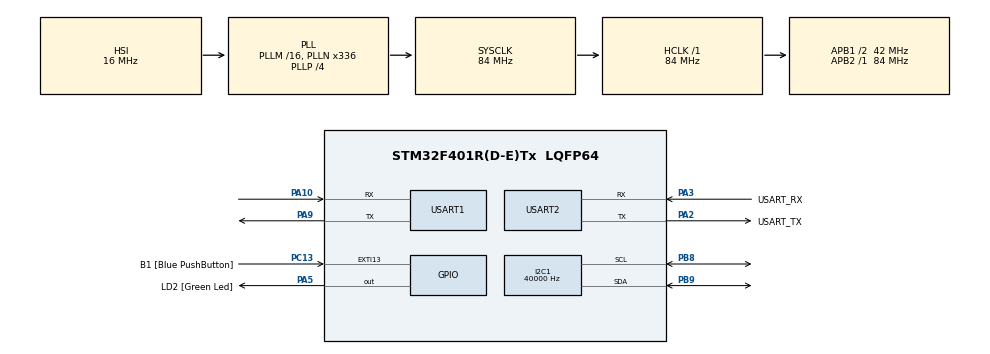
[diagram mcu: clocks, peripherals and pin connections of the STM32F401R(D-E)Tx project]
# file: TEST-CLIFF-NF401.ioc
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I2C1.ClockSpeed=40000
I2C1.I2C_Mode=I2C_Fast
Mcu.Family=STM32F4
Mcu.Name=STM32F401R(D-E)Tx
Mcu.Package=LQFP64
NVIC.EXTI15_10_IRQn=true\:0\:0\:false\:false\:true\:true
NVIC.PriorityGroup=NVIC_PRIORITYGROUP_0
NVIC.TIM1_CC_IRQn=true\:0\:0\:false\:false\:true\:true
NVIC.USART1_IRQn=true\:0\:0\:false\:false\:true\:true
NVIC.USART2_IRQn=true\:0\:0\:false\:false\:true\:true
PA10.Mode=Asynchronous
PA10.Signal=USART1_RX
PA13.GPIO_Label=TMS
PA13.Mode=Serial_Wire
PA13.Signal=SYS_JTMS-SWDIO
PA14.GPIO_Label=TCK
PA14.Mode=Serial_Wire
PA14.Signal=SYS_JTCK-SWCLK
PA2.GPIO_Label=USART_TX
PA2.GPIO_Mode=GPIO_MODE_AF_PP
PA2.GPIO_PuPd=GPIO_NOPULL
PA2.GPIO_Speed=GPIO_SPEED_FREQ_LOW
PA2.Mode=Asynchronous
PA2.Signal=USART2_TX
PA3.GPIO_Label=USART_RX
PA3.GPIO_Mode=GPIO_MODE_AF_PP
PA3.GPIO_PuPd=GPIO_NOPULL
PA3.GPIO_Speed=GPIO_SPEED_FREQ_LOW
PA3.Mode=Asynchronous
PA3.Signal=USART2_RX
PA5.GPIO_Label=LD2 [Green Led]
PA5.GPIO_Mode=GPIO_MODE_OUTPUT_PP
PA5.GPIO_PuPd=GPIO_NOPULL
PA5.GPIO_Speed=GPIO_SPEED_FREQ_LOW
PA5.Signal=GPIO_Output
PA9.Mode=Asynchronous
PA9.Signal=USART1_TX
PB3.GPIO_Label=SWO
PB3.Signal=SYS_JTDO-SWO
PB8.Mode=I2C
PB8.Signal=I2C1_SCL
PB9.Mode=I2C
PB9.Signal=I2C1_SDA
PC13-ANTI_TAMP.GPIO_Label=B1 [Blue PushButton]
PC13-ANTI_TAMP.GPIO_ModeDefaultEXTI=GPIO_MODE_IT_FALLING
PC13-ANTI_TAMP.GPIO_PuPd=GPIO_PULLUP
PC13-ANTI_TAMP.Signal=GPXTI13
PC14-OSC32_IN.Mode=LSE-External-Oscillator
PC14-OSC32_IN.Signal=RCC_OSC32_IN
PC15-OSC32_OUT.Mode=LSE-External-Oscillator
PC15-OSC32_OUT.Signal=RCC_OSC32_OUT
PH0\ -\ OSC_IN.Mode=HSE-External-Clock-Source
PH0\ -\ OSC_IN.Signal=RCC_OSC_IN
PH1\ -\ OSC_OUT.Mode=HSE-External-Clock-Source
PH1\ -\ OSC_OUT.Signal=RCC_OSC_OUT
ProjectManager.HeapSize=0x200
ProjectManager.StackSize=0x400
ProjectManager.TargetToolchain=TrueSTUDIO
RCC.48MHZClocksFreq_Value=48000000
RCC.AHBFreq_Value=84000000
RCC.APB1CLKDivider=RCC_HCLK_DIV2
RCC.APB1Freq_Value=42000000
RCC.APB1TimFreq_Value=84000000
RCC.APB2Freq_Value=84000000
RCC.APB2TimFreq_Value=84000000
RCC.CortexFreq_Value=84000000
RCC.HCLKFreq_Value=84000000
RCC.HSE_VALUE=8000000
RCC.HSI_VALUE=16000000
RCC.PLLN=336
RCC.PLLP=RCC_PLLP_DIV4
RCC.PLLQ=7
RCC.SYSCLKFreq_VALUE=84000000
RCC.SYSCLKSource=RCC_SYSCLKSOURCE_PLLCLK
RCC.VCOOutputFreq_Value=336000000
TIM1.Channel-Output\ Compare1\ No\ Output=TIM_CHANNEL_1
USART1.VirtualMode=VM_ASYNC
USART2.VirtualMode=VM_ASYNC
VP_TIM1_VS_no_output1.Mode=Output Compare1 No Output
board=NUCLEO-F401RE

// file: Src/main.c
/* USER CODE BEGIN Header */
/**
  ******************************************************************************
  * @file           : main.c
  * @brief          : Main program body
  ******************************************************************************
  ** This notice applies to any and all portions of this file
  * that are not between comment pairs USER CODE BEGIN and
  * USER CODE END. Other portions of this file, whether
  * inserted by the user or by software development tools
  * are owned by their respective copyright owners.
  *
  * COPYRIGHT(c) 2019 STMicroelectronics
  *
  * Redistribution and use in source and binary forms, with or without modification,
  * are permitted provided that the following conditions are met:
  *   1. Redistributions of source code must retain the above copyright notice,
  *      this list of conditions and the following disclaimer.
  *   2. Redistributions in binary form must reproduce the above copyright notice,
  *      this list of conditions and the following disclaimer in the documentation
  *      and/or other materials provided with the distribution.
  *   3. Neither the name of STMicroelectronics nor the names of its contributors
  *      may be used to endorse or promote products derived from this software
  *      without specific prior written permission.
  *
  * THIS SOFTWARE IS PROVIDED BY THE COPYRIGHT HOLDERS AND CONTRIBUTORS "AS IS"
  * AND ANY EXPRESS OR IMPLIED WARRANTIES, INCLUDING, BUT NOT LIMITED TO, THE
  * IMPLIED WARRANTIES OF MERCHANTABILITY AND FITNESS FOR A PARTICULAR PURPOSE ARE
  * DISCLAIMED. IN NO EVENT SHALL THE COPYRIGHT HOLDER OR CONTRIBUTORS BE LIABLE
  * FOR ANY DIRECT, INDIRECT, INCIDENTAL, SPECIAL, EXEMPLARY, OR CONSEQUENTIAL
  * DAMAGES (INCLUDING, BUT NOT LIMITED TO, PROCUREMENT OF SUBSTITUTE GOODS OR
  * SERVICES; LOSS OF USE, DATA, OR PROFITS; OR BUSINESS INTERRUPTION) HOWEVER
  * CAUSED AND ON ANY THEORY OF LIABILITY, WHETHER IN CONTRACT, STRICT LIABILITY,
  * OR TORT (INCLUDING NEGLIGENCE OR OTHERWISE) ARISING IN ANY WAY OUT OF THE USE
  * OF THIS SOFTWARE, EVEN IF ADVISED OF THE POSSIBILITY OF SUCH DAMAGE.
  *
  ******************************************************************************
  */
/* USER CODE END Header */

#include "main.h"

/* USER CODE BEGIN PD */

#define CLIFF_SLAVE_ADDRESS				(0xA6)
#define BATINFO_SLAVE_ADDRESS			(0xEE)
#define BATINFO_SLAVE_EXT_ADDRESS		(0x6C)

#define CLIFF_I2C_REG_CH0				(0x20)
#define CLIFF_I2C_REG_CH1				(0x22)
#define CLIFF_I2C_REG_CH2				(0x24)
#define CLIFF_I2C_REG_CH3				(0x26)
#define CLIFF_I2C_REG_CH4				(0x28)
#define CLIFF_I2C_REG_CH5				(0x2a)
#define CLIFF_I2C_REG_CH6				(0x2c)
#define CLIFF_I2C_REG_CH7				(0x2e)
#define CLIFF_I2C_REG_CHD				(0x36)

#define SEL_MODE_MAX					(2)

#define BATINFO_I2C_REG_CLIFF_LEFT		(0x0A)
#define BATINFO_I2C_REG_CLIFF_BACK		(0x0C)
#define BATINFO_I2C_REG_CLIFF_RIGHT		(0x0E)

/* USER CODE END PD */

I2C_HandleTypeDef hi2c1;

TIM_HandleTypeDef htim1;

UART_HandleTypeDef huart1;
UART_HandleTypeDef huart2;

/* USER CODE BEGIN PV */
uint8_t address = 0x20;		// REG_RANGE address

uint8_t data[3];
uint16_t result;

uint8_t gSelectMode;
uint8_t gSelectMode_pend;

uint16_t f2f_runtime_pre;
uint16_t f2f_runtime_now;
uint16_t f2f_runtime_result;

/* USER CODE END PV */

void SystemClock_Config(void);
static void MX_GPIO_Init(void);
static void MX_USART2_UART_Init(void);
static void MX_TIM1_Init(void);
static void MX_I2C1_Init(void);
static void MX_USART1_UART_Init(void);
/* USER CODE BEGIN PFP */
int _write(int fd, char *str, int len);
/* USER CODE END PFP */

/* USER CODE BEGIN 0 */
void readCliffDistance(uint8_t reg_address);
void readCliffCH(uint16_t delay_ms);
void readBATINFO(uint16_t delay_ms);
void touchINFO(uint16_t delay_ms);
void touchbyCliffINFO(uint16_t delay_ms);
void readBATINFOpCliff(uint16_t delay_ms);

uint16_t readI2CHalfWord(uint8_t slave_address, uint8_t reg_address);
/* USER CODE END 0 */

int main(void)
{

  /* MCU Configuration--------------------------------------------------------*/

  /* Reset of all peripherals, Initializes the Flash interface and the Systick. */
  HAL_Init();

  /* Configure the system clock */
  SystemClock_Config();

  /* USER CODE BEGIN SysInit */
  HAL_Delay(500);
  /* USER CODE END SysInit */

  /* Initialize all configured peripherals */
  MX_GPIO_Init();
  MX_USART2_UART_Init();
  MX_TIM1_Init();
  MX_I2C1_Init();
  MX_USART1_UART_Init();
  /* USER CODE BEGIN 2 */
  HAL_TIM_Base_Start_IT(&htim1);

  // read

  /* USER CODE END 2 */

  /* Infinite loop */
  while (1)
  {
    /* USER CODE BEGIN 3 */
	  // select user test program by blue button.
	  if(1){
		  switch(gSelectMode)
		  {
		  case 1:
	//		  readCliffCH(100);
			  readBATINFO(500);
	//		  readBATINFO(1000);
			  gSelectMode_pend = RESET;
			  break;
		  case 2:
			  readBATINFOpCliff(500);
			  gSelectMode_pend = RESET;
			  break;
//		  case 3:
//			  touchbyCliffINFO(5);
//			  gSelectMode_pend = RESET;
//			  break;
//		  case 4:
//			  touchINFO(5);
//			  gSelectMode_pend = RESET;
//			  break;
		  }
	  }
	  // cliff 3ch read using BAT-INFO IC
	  if(0){
		  readBATINFOpCliff(500);
	  }

  }
  /* USER CODE END 3 */
}

void SystemClock_Config(void)
{
  RCC_OscInitTypeDef RCC_OscInitStruct = {0};
  RCC_ClkInitTypeDef RCC_ClkInitStruct = {0};

  /**Configure the main internal regulator output voltage
  */
  __HAL_RCC_PWR_CLK_ENABLE();
  __HAL_PWR_VOLTAGESCALING_CONFIG(PWR_REGULATOR_VOLTAGE_SCALE2);
  /**Initializes the CPU, AHB and APB busses clocks
  */
  RCC_OscInitStruct.OscillatorType = RCC_OSCILLATORTYPE_HSI;
  RCC_OscInitStruct.HSIState = RCC_HSI_ON;
  RCC_OscInitStruct.HSICalibrationValue = RCC_HSICALIBRATION_DEFAULT;
  RCC_OscInitStruct.PLL.PLLState = RCC_PLL_ON;
  RCC_OscInitStruct.PLL.PLLSource = RCC_PLLSOURCE_HSI;
  RCC_OscInitStruct.PLL.PLLM = 16;
  RCC_OscInitStruct.PLL.PLLN = 336;
  RCC_OscInitStruct.PLL.PLLP = RCC_PLLP_DIV4;
  RCC_OscInitStruct.PLL.PLLQ = 7;
  if (HAL_RCC_OscConfig(&RCC_OscInitStruct) != HAL_OK)
  {
    Error_Handler();
  }
  /**Initializes the CPU, AHB and APB busses clocks
  */
  RCC_ClkInitStruct.ClockType = RCC_CLOCKTYPE_HCLK|RCC_CLOCKTYPE_SYSCLK
                              |RCC_CLOCKTYPE_PCLK1|RCC_CLOCKTYPE_PCLK2;
  RCC_ClkInitStruct.SYSCLKSource = RCC_SYSCLKSOURCE_PLLCLK;
  RCC_ClkInitStruct.AHBCLKDivider = RCC_SYSCLK_DIV1;
  RCC_ClkInitStruct.APB1CLKDivider = RCC_HCLK_DIV2;
  RCC_ClkInitStruct.APB2CLKDivider = RCC_HCLK_DIV1;

  if (HAL_RCC_ClockConfig(&RCC_ClkInitStruct, FLASH_LATENCY_2) != HAL_OK)
  {
    Error_Handler();
  }
}

static void MX_I2C1_Init(void)
{

  hi2c1.Instance = I2C1;
  hi2c1.Init.ClockSpeed = 400000;
  hi2c1.Init.DutyCycle = I2C_DUTYCYCLE_2;
  hi2c1.Init.OwnAddress1 = 0;
  hi2c1.Init.AddressingMode = I2C_ADDRESSINGMODE_7BIT;
  hi2c1.Init.DualAddressMode = I2C_DUALADDRESS_DISABLE;
  hi2c1.Init.OwnAddress2 = 0;
  hi2c1.Init.GeneralCallMode = I2C_GENERALCALL_DISABLE;
  hi2c1.Init.NoStretchMode = I2C_NOSTRETCH_DISABLE;
  if (HAL_I2C_Init(&hi2c1) != HAL_OK)
  {
    Error_Handler();
  }

}

static void MX_TIM1_Init(void)
{

  TIM_MasterConfigTypeDef sMasterConfig = {0};
  TIM_OC_InitTypeDef sConfigOC = {0};
  TIM_BreakDeadTimeConfigTypeDef sBreakDeadTimeConfig = {0};

  /* USER CODE BEGIN TIM1_Init 1 */
  // 84Mhz max
  // 8400
  // 1/10,000 = 100us
  /* USER CODE END TIM1_Init 1 */
  htim1.Instance = TIM1;
  htim1.Init.Prescaler = 8400;
  htim1.Init.CounterMode = TIM_COUNTERMODE_UP;
  htim1.Init.Period = 9999;
  htim1.Init.ClockDivision = TIM_CLOCKDIVISION_DIV1;
  htim1.Init.RepetitionCounter = 0;
  if (HAL_TIM_OC_Init(&htim1) != HAL_OK)
  {
    Error_Handler();
  }
  sMasterConfig.MasterOutputTrigger = TIM_TRGO_RESET;
  sMasterConfig.MasterSlaveMode = TIM_MASTERSLAVEMODE_DISABLE;
  if (HAL_TIMEx_MasterConfigSynchronization(&htim1, &sMasterConfig) != HAL_OK)
  {
    Error_Handler();
  }
  sConfigOC.OCMode = TIM_OCMODE_TIMING;
  sConfigOC.Pulse = 0;
  sConfigOC.OCPolarity = TIM_OCPOLARITY_HIGH;
  sConfigOC.OCNPolarity = TIM_OCNPOLARITY_HIGH;
  sConfigOC.OCFastMode = TIM_OCFAST_DISABLE;
  sConfigOC.OCIdleState = TIM_OCIDLESTATE_RESET;
  sConfigOC.OCNIdleState = TIM_OCNIDLESTATE_RESET;
  if (HAL_TIM_OC_ConfigChannel(&htim1, &sConfigOC, TIM_CHANNEL_1) != HAL_OK)
  {
    Error_Handler();
  }
  sBreakDeadTimeConfig.OffStateRunMode = TIM_OSSR_DISABLE;
  sBreakDeadTimeConfig.OffStateIDLEMode = TIM_OSSI_DISABLE;
  sBreakDeadTimeConfig.LockLevel = TIM_LOCKLEVEL_OFF;
  sBreakDeadTimeConfig.DeadTime = 0;
  sBreakDeadTimeConfig.BreakState = TIM_BREAK_DISABLE;
  sBreakDeadTimeConfig.BreakPolarity = TIM_BREAKPOLARITY_HIGH;
  sBreakDeadTimeConfig.AutomaticOutput = TIM_AUTOMATICOUTPUT_DISABLE;
  if (HAL_TIMEx_ConfigBreakDeadTime(&htim1, &sBreakDeadTimeConfig) != HAL_OK)
  {
    Error_Handler();
  }

}

static void MX_USART1_UART_Init(void)
{

  huart1.Instance = USART1;
  huart1.Init.BaudRate = 115200;
  huart1.Init.WordLength = UART_WORDLENGTH_8B;
  huart1.Init.StopBits = UART_STOPBITS_1;
  huart1.Init.Parity = UART_PARITY_NONE;
  huart1.Init.Mode = UART_MODE_TX_RX;
  huart1.Init.HwFlowCtl = UART_HWCONTROL_NONE;
  huart1.Init.OverSampling = UART_OVERSAMPLING_16;
  if (HAL_UART_Init(&huart1) != HAL_OK)
  {
    Error_Handler();
  }

}

static void MX_USART2_UART_Init(void)
{

  huart2.Instance = USART2;
  huart2.Init.BaudRate = 115200;
  huart2.Init.WordLength = UART_WORDLENGTH_8B;
  huart2.Init.StopBits = UART_STOPBITS_1;
  huart2.Init.Parity = UART_PARITY_NONE;
  huart2.Init.Mode = UART_MODE_TX_RX;
  huart2.Init.HwFlowCtl = UART_HWCONTROL_NONE;
  huart2.Init.OverSampling = UART_OVERSAMPLING_16;
  if (HAL_UART_Init(&huart2) != HAL_OK)
  {
    Error_Handler();
  }

}

static void MX_GPIO_Init(void)
{
  GPIO_InitTypeDef GPIO_InitStruct = {0};

  /* GPIO Ports Clock Enable */
  __HAL_RCC_GPIOC_CLK_ENABLE();
  __HAL_RCC_GPIOH_CLK_ENABLE();
  __HAL_RCC_GPIOA_CLK_ENABLE();
  __HAL_RCC_GPIOB_CLK_ENABLE();

  /*Configure GPIO pin Output Level */
  HAL_GPIO_WritePin(LD2_GPIO_Port, LD2_Pin, GPIO_PIN_RESET);

  /*Configure GPIO pin : B1_Pin */
  GPIO_InitStruct.Pin = B1_Pin;
  GPIO_InitStruct.Mode = GPIO_MODE_IT_FALLING;
  GPIO_InitStruct.Pull = GPIO_PULLUP;
  HAL_GPIO_Init(B1_GPIO_Port, &GPIO_InitStruct);

  /*Configure GPIO pin : LD2_Pin */
  GPIO_InitStruct.Pin = LD2_Pin;
  GPIO_InitStruct.Mode = GPIO_MODE_OUTPUT_PP;
  GPIO_InitStruct.Pull = GPIO_NOPULL;
  GPIO_InitStruct.Speed = GPIO_SPEED_FREQ_LOW;
  HAL_GPIO_Init(LD2_GPIO_Port, &GPIO_InitStruct);

  /* EXTI interrupt init*/
  HAL_NVIC_SetPriority(EXTI15_10_IRQn, 0, 0);
  HAL_NVIC_EnableIRQ(EXTI15_10_IRQn);

}

/* USER CODE BEGIN 4 */
int _write(int fd, char *str, int len)
{
	for(int i=0;i<len;i++)
	{ //UART 1번에 ?��?��?�� ?��?��
		HAL_UART_Transmit(&huart2, (uint8_t *)&str[i], 1, 0xFFFF);
	}
	return len;
}

void readCliffDistance(uint8_t reg_address)
{

	HAL_I2C_Master_Transmit(&hi2c1, 0xA6, &reg_address, 1, 1000);
	HAL_Delay(5);
	HAL_I2C_Master_Receive(&hi2c1, 0xA6, data, 2, 1000);
	HAL_Delay(5);

}
/*
 *  @reg_address
 * 	@return 		16bit data
 */

uint16_t readI2CHalfWord(uint8_t slave_address, uint8_t reg_address)
{
	uint8_t i2cdata[2];
	HAL_I2C_Master_Transmit(&hi2c1, slave_address, &reg_address, 1, 1000);
	HAL_Delay(5);
	HAL_I2C_Master_Receive(&hi2c1, slave_address, i2cdata, 2, 1000);
	HAL_Delay(5);
	return (uint16_t)((i2cdata[1]<<8) | i2cdata[0]);
}

uint16_t readI2CHalfWord_MSBf(uint8_t slave_address, uint8_t reg_address)
{
	uint8_t i2cdata[2];
	HAL_I2C_Master_Transmit(&hi2c1, slave_address, &reg_address, 1, 1000);
	HAL_Delay(5);
	HAL_I2C_Master_Receive(&hi2c1, slave_address, i2cdata, 2, 1000);
	HAL_Delay(5);
	return (uint16_t)(i2cdata[0]<<8 | i2cdata[1]);
}

void readCliffCH(uint16_t delay_ms)
{

	readCliffDistance(CLIFF_I2C_REG_CH0);
	printf("CH0:%d ",result);
	result = (uint16_t)(data[1]<<8) | data[0];		// LSB first
//	HAL_Delay(delay_ms);

//	readCliffDistance(CLIFF_I2C_REG_CH1);
//	result = (uint16_t)(data[1]<<8) | data[0];
//	printf("CH1:%d ",result);
//	HAL_Delay(delay_ms);

//	readCliffDistance(CLIFF_I2C_REG_CH2);
//	result = (uint16_t)(data[1]<<8) | data[0];
//	printf("CH2:%d ",result);
//	HAL_Delay(delay_ms);
//
//	readCliffDistance(CLIFF_I2C_REG_CH3);
//	result = (uint16_t)(data[1]<<8) | data[0];
//	printf("CH3:%d ",result);
//	HAL_Delay(delay_ms);

	readCliffDistance(CLIFF_I2C_REG_CH4);
	result = (uint16_t)(data[1]<<8) | data[0];
	printf("CH4:%d ",result);
//	HAL_Delay(delay_ms);

//	readCliffDistance(CLIFF_I2C_REG_CH5);
//	result = (uint16_t)(data[1]<<8) | data[0];
//	printf("CH5:%d ",result);
//	HAL_Delay(delay_ms);

	readCliffDistance(CLIFF_I2C_REG_CH6);
	result = (uint16_t)(data[1]<<8) | data[0];
	printf("CH6:%d ",result);
//	HAL_Delay(delay_ms);

//	readCliffDistance(CLIFF_I2C_REG_CH7);
//	result = (uint16_t)(data[1]<<8) | data[0];
//	printf("CH7:%d ",result);
//	HAL_Delay(delay_ms);
	HAL_Delay(delay_ms);
	printf("\n");
}

void HAL_GPIO_EXTI_Callback(uint16_t GPIO_Pin)
{
	if(GPIO_Pin==GPIO_PIN_13 && gSelectMode_pend==RESET){
//		printf("blue stick appear\n");
		if(gSelectMode == SEL_MODE_MAX)
			gSelectMode = 0;
		// if click a blue user button, change the run application.
		gSelectMode++;
		printf("\n");
		printf("gSelectMode:%d\n",gSelectMode);
		gSelectMode_pend = SET;
	}

}

void readBATINFO(uint16_t delay_ms)
{
	uint16_t tmpdata;

	printf("\n#1_BATINFO MCU\n");
	tmpdata = readI2CHalfWord_MSBf(BATINFO_SLAVE_EXT_ADDRESS,0x00);
	printf("read_VCELL\t[0x00]\t:%d\n",tmpdata);
	HAL_Delay(5);

	tmpdata = readI2CHalfWord_MSBf(BATINFO_SLAVE_EXT_ADDRESS,0x02);
	printf("SOC\t[0x02]\t:%d\n",tmpdata>>8 & 0xFF);
	HAL_Delay(5);

	tmpdata = readI2CHalfWord_MSBf(BATINFO_SLAVE_EXT_ADDRESS,0x04);
	printf("Current\t[0x04]\t:%d,",tmpdata & 0x7FFF);
	// 15bit: charge/discharge 0:chg, 1:dis_chg
	if(tmpdata >> 15 & 0x01)
		printf("discharge\n");
	else
		printf("charge\n");

	HAL_Delay(5);

	tmpdata = readI2CHalfWord_MSBf(BATINFO_SLAVE_EXT_ADDRESS,0x06);
	printf("FullCap\t[0x06]\t:%d\n",tmpdata);
	HAL_Delay(5);

	printf("\n#2_CliffHub MCU\n");

	tmpdata = readI2CHalfWord_MSBf(BATINFO_SLAVE_EXT_ADDRESS,0x0A);
	printf(" Cliff left\t[0x0A]\t:%d\n",tmpdata);
	HAL_Delay(5);

	tmpdata = readI2CHalfWord_MSBf(BATINFO_SLAVE_EXT_ADDRESS,0x0C);
	printf(" Cliff back\t[0x0C]\t:%d\n",tmpdata);
	HAL_Delay(5);

	tmpdata = readI2CHalfWord_MSBf(BATINFO_SLAVE_EXT_ADDRESS,0x0E);
	printf(" Cliff right\t[0x0E]\t:%d\n",tmpdata);
	HAL_Delay(5);

	tmpdata = readI2CHalfWord_MSBf(BATINFO_SLAVE_EXT_ADDRESS,0x10);
	printf("Touch+state\t[0x10]\t:0x%x\n",tmpdata);
	HAL_Delay(5);

	tmpdata = readI2CHalfWord_MSBf(BATINFO_SLAVE_EXT_ADDRESS,0x10);
	printf("Touch[0x10](8bit)\t:%d,  %d,  %d\n",tmpdata>>8 & 0x01,tmpdata>>9 & 0x01,tmpdata>>10 & 0x01 );
	HAL_Delay(5);

	HAL_Delay(delay_ms);

	// test - confirm to function read i2c channel.
//	tmpdata = readI2CHalfWord(CLIFF_SLAVE_ADDRESS,CLIFF_I2C_REG_CH0);
//	printf("(T_func)CLIFF CH0:%d\n",tmpdata);
//	HAL_Delay(delay_ms);

}

void readBATINFOpCliff(uint16_t delay_ms)
{
	uint16_t tmpdata;

//	printf("\n#2_CliffHub MCU\n");

	tmpdata = readI2CHalfWord_MSBf(BATINFO_SLAVE_EXT_ADDRESS,BATINFO_I2C_REG_CLIFF_RIGHT);
	printf("BatInfo Cliff {R,B,L}:\t%d\t",tmpdata);
	HAL_Delay(5);

	tmpdata = readI2CHalfWord_MSBf(BATINFO_SLAVE_EXT_ADDRESS,BATINFO_I2C_REG_CLIFF_BACK);
	printf("%d\t",tmpdata);
	HAL_Delay(5);

	tmpdata = readI2CHalfWord_MSBf(BATINFO_SLAVE_EXT_ADDRESS,BATINFO_I2C_REG_CLIFF_LEFT);
	printf("%d\n",tmpdata);
	HAL_Delay(5);

	HAL_Delay(delay_ms);
}

void touchINFO(uint16_t delay_ms)
{
	static uint16_t predata;
	uint16_t tmpdata;

	tmpdata = readI2CHalfWord_MSBf(BATINFO_SLAVE_EXT_ADDRESS,0x10);
//	printf("Touch[0x10](8bit)\t:%d,  %d,  %d\n",tmpdata>>8 & 0x01,tmpdata>>9 & 0x01,tmpdata>>10 & 0x01 );
	printf("Tch:BATINFO:0x%x\n",tmpdata);
//	HAL_Delay(delay_ms);

	// when value changed, time stamp
	if(tmpdata!=0 && tmpdata != predata){

		f2f_runtime_now = htim1.Instance->CNT;
		if(f2f_runtime_now < f2f_runtime_pre){
			f2f_runtime_result = (htim1.Instance->ARR + f2f_runtime_now) - f2f_runtime_pre;
		}
		else
			f2f_runtime_result = f2f_runtime_now - f2f_runtime_pre;

		// 1 = 100us
		printf("t:%dms ",f2f_runtime_result/10);

		printf("\n");

	}

	// function time scope
	f2f_runtime_pre = htim1.Instance->CNT;

	//old data save
	predata = tmpdata;

}

void touchbyCliffINFO(uint16_t delay_ms)
{
	static uint16_t predata_c;
	uint16_t tmpdata;

	tmpdata = readI2CHalfWord_MSBf(CLIFF_SLAVE_ADDRESS,0x40);
//	printf("Touch[0x10](8bit)\t:%d,  %d,  %d\n",tmpdata>>8 & 0x01,tmpdata>>9 & 0x01,tmpdata>>10 & 0x01 );
	printf("Tch:Cliff:0x%x\n",tmpdata);

	// when value changed, time stamp
	if(tmpdata!=0 && tmpdata != predata_c){

		f2f_runtime_now = htim1.Instance->CNT;
		if(f2f_runtime_now < f2f_runtime_pre){
			f2f_runtime_result = (htim1.Instance->ARR + f2f_runtime_now) - f2f_runtime_pre;
		}
		else
			f2f_runtime_result = f2f_runtime_now - f2f_runtime_pre;

		// 1 = 100us
		printf("t:%dms ",f2f_runtime_result/10);

		printf("\n");

	}

	// function time scope
	f2f_runtime_pre = htim1.Instance->CNT;

	//old data save
	predata_c = tmpdata;

//	HAL_Delay(delay_ms);

}

/* USER CODE END 4 */

void Error_Handler(void)
{
}

/************************ (C) COPYRIGHT STMicroelectronics *****END OF FILE****/
